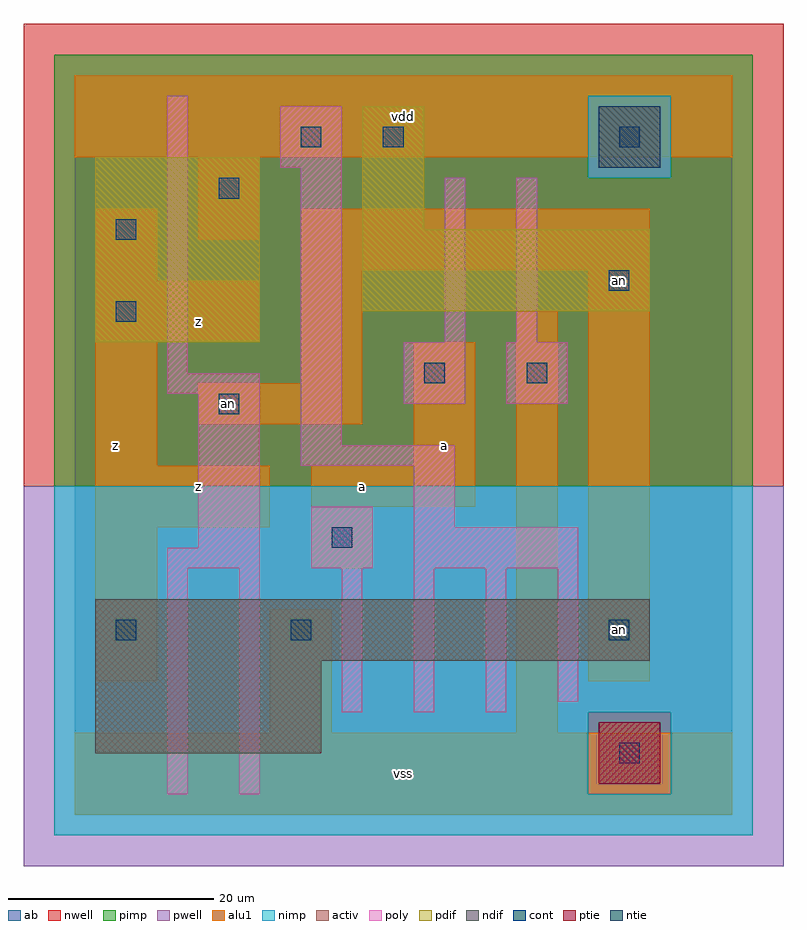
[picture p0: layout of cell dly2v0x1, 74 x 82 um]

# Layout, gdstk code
import gdstk
lib = gdstk.Library(unit=1e-6, precision=1e-09)
def R(c, l, rs):  # rectangles x0, y0, x1, y1
    for r in rs: c.add(gdstk.rectangle(r[:2], r[2:], *l))
def A(c, l, x, y, w, h, nx, ny, dx, dy):  # array of equal rectangles
    R(c, l, [(x+i*dx, y+j*dy, x+i*dx+w, y+j*dy+h) for i in range(nx) for j in range(ny)])
ndif = (3, 0)
pdif = (4, 0)
ntie = (5, 0)
ptie = (6, 0)
cont = (25, 0)
pwell = (41, 0)
nwell = (42, 0)
activ = (43, 0)
pimp = (44, 0)
nimp = (45, 0)
poly = (46, 0)
alu1 = (49, 0)
ab = (63, 0)

dly2v0x1 = lib.new_cell('dly2v0x1')
R(dly2v0x1, ndif, [(2,6,24,15), (2,15,56,21)])
R(dly2v0x1, pdif, [(2,46,18,64), (28,49,56,57), (28,57,34,69)])
R(dly2v0x1, ntie, [(51,63,57,69)])
R(dly2v0x1, ptie, [(51,3,57,9)])
R(dly2v0x1, cont, [(53,5,55,7), (4,17,6,19), (21,17,23,19), (52,17,54,19), (25,26,27,28), (14,39,16,41), (34,42,36,44), (44,42,46,44), (4,48,6,50), (52,51,54,53), (4,56,6,58), (14,60,16,62), (22,65,24,67), (30,65,32,67), (53,65,55,67)])
R(dly2v0x1, pwell, [(-5,-5,69,32)])
R(dly2v0x1, nwell, [(-5,32,69,77)])
R(dly2v0x1, activ, [(51,3,57,9), (2,6,24,15), (2,15,56,21), (2,46,18,64), (28,49,56,57), (28,57,34,69), (51,63,57,69)])
R(dly2v0x1, pimp, [(50,2,58,10), (-2,32,66,62), (-2,62,50,70), (58,62,66,70), (-2,70,66,74)])
R(dly2v0x1, nimp, [(-2,-2,66,2), (-2,2,50,10), (58,2,66,10), (-2,10,66,32), (50,62,58,70)])
A(dly2v0x1, poly, 26, 10, 2, 14, 3, 1, 7, 0)
R(dly2v0x1, poly, [(9,2,11,24), (16,2,18,24), (47,11,49,24), (9,24,18,26), (23,24,29,30), (33,24,49,28), (12,26,18,41), (33,28,37,34), (22,34,37,36), (22,36,26,63), (32,40,38,46), (42,40,48,46), (9,41,18,43), (9,43,11,70), (36,46,38,62), (43,46,45,62), (20,63,26,69)])
R(dly2v0x1, alu1, [(0,0,64,8), (19,8,25,20), (43,8,47,49), (2,13,8,28), (50,13,56,53), (23,24,29,30), (2,28,19,34), (23,30,39,34), (2,34,8,46), (33,34,39,46), (12,38,28,42), (22,42,28,53), (2,46,18,52), (2,52,8,59), (22,53,56,59), (12,56,18,64), (0,64,64,72)])
R(dly2v0x1, ab, [(0,0,64,72)])
dly2v0x1.add(gdstk.Label('an', (15,40), layer=49, texttype=0))
dly2v0x1.add(gdstk.Label('an', (53,18), layer=49, texttype=0))
dly2v0x1.add(gdstk.Label('an', (53,52), layer=49, texttype=0))
dly2v0x1.add(gdstk.Label('z', (12,32), layer=49, texttype=0))
dly2v0x1.add(gdstk.Label('z', (4,36), layer=49, texttype=0))
dly2v0x1.add(gdstk.Label('z', (12,48), layer=49, texttype=0))
dly2v0x1.add(gdstk.Label('a', (28,32), layer=49, texttype=0))
dly2v0x1.add(gdstk.Label('vss', (32,4), layer=49, texttype=0))
dly2v0x1.add(gdstk.Label('a', (36,36), layer=49, texttype=0))
dly2v0x1.add(gdstk.Label('vdd', (32,68), layer=49, texttype=0))

lib.write_gds('dly2v0x1.gds')
